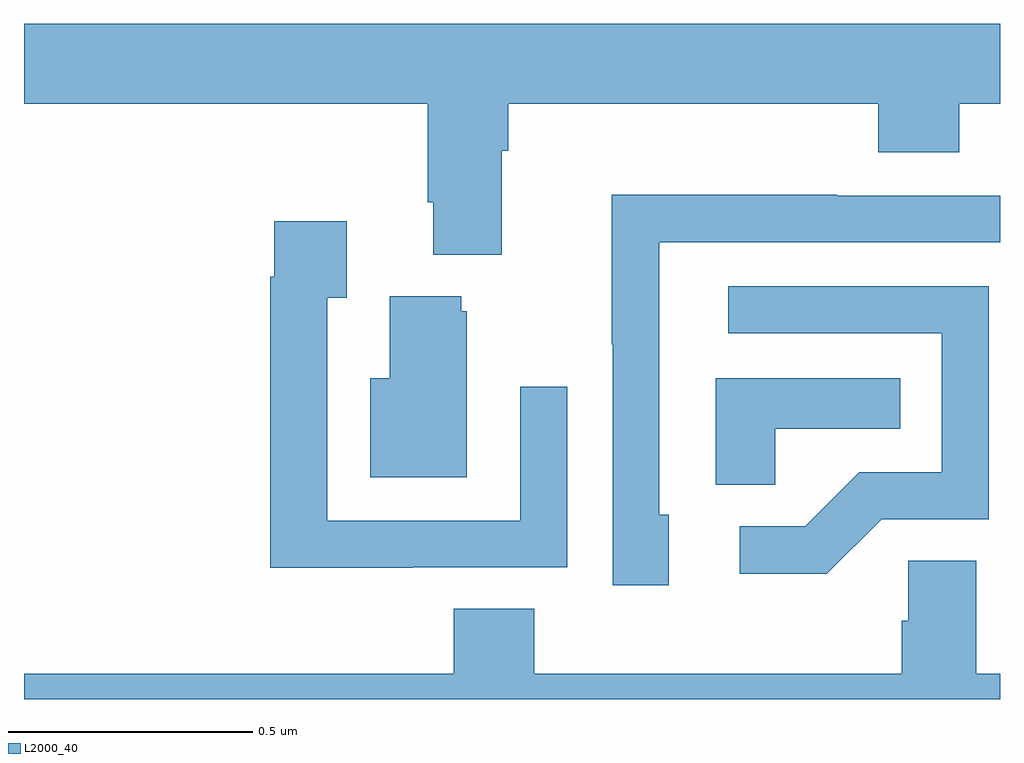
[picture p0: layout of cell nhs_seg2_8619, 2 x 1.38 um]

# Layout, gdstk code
import gdstk
lib = gdstk.Library(unit=1e-6, precision=1e-09)
def P(c, l, *ps):  # polygons
    for p in ps: c.add(gdstk.Polygon(p, *l))
L2000_40 = (2000, 40)

nhs_seg2_8619 = lib.new_cell('nhs_seg2_8619')
P(nhs_seg2_8619, L2000_40, [(219.979,596.924),(219.992,596.924),(219.992,597.02),(220.751,597.02),(220.751,596.921),(220.916,596.921),(220.916,597.02),(221,597.02),(221,597.184),(219,597.184),(219,597.02),(219.827,597.02),(219.827,596.818),(219.839,596.818),(219.839,596.711),(219.979,596.711)],
  [(220.321,596.178),(220.302,596.178),(220.302,596.736),(221,596.736),(221,596.832),(220.667,596.832),(220.667,596.834),(220.204,596.834),(220.204,596.527),(220.206,596.527),(220.206,596.034),(220.321,596.034)],
  [(219.797,596.07),(220.113,596.07),(220.113,596.44),(220.017,596.44),(220.017,596.166),(219.621,596.166),(219.621,596.623),(219.661,596.623),(219.661,596.779),(219.513,596.779),(219.513,596.666),(219.505,596.666),(219.505,596.069),(219.797,596.069)],
  [(220.758,596.169),(220.977,596.169),(220.977,596.646),(220.443,596.646),(220.443,596.55),(220.881,596.55),(220.881,596.265),(220.712,596.265),(220.601,596.154),(220.467,596.154),(220.467,596.057),(220.645,596.057)],
  [(219.907,596.595),(219.896,596.595),(219.896,596.626),(219.749,596.626),(219.749,596.458),(219.71,596.458),(219.71,596.255),(219.907,596.255)],
  [(220.539,596.354),(220.796,596.354),(220.796,596.458),(220.418,596.458),(220.418,596.239),(220.539,596.239)],
  [(221,595.852),(220.951,595.852),(220.951,596.084),(220.812,596.084),(220.812,595.961),(220.799,595.961),(220.799,595.852),(220.046,595.852),(220.046,595.985),(219.881,595.985),(219.881,595.852),(219,595.852),(219,595.8),(221,595.8)])

lib.write_gds('nhs_seg2_8619.gds')
